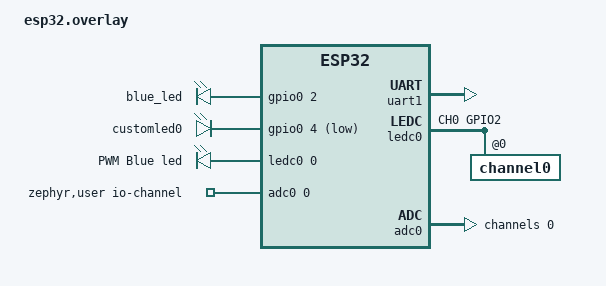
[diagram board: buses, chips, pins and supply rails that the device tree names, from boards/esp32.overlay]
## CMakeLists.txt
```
cmake_minimum_required(VERSION 3.20.0)

find_package(Zephyr REQUIRED HINTS $ENV{ZEPHYR_BASE})

project(Soln12_Zephyr)

target_include_directories(app PRIVATE inc/)

FILE(GLOB c_sources src/*.c)
FILE(GLOB cpp_sources src/*.cpp)

target_sources(app PRIVATE ${c_sources} ${cpp_sources})
```

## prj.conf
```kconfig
#
# C++ Language Support
#
CONFIG_CPP=y
CONFIG_STD_CPP17=y
CONFIG_REQUIRES_FULL_LIBCPP=y
CONFIG_GLIBCXX_LIBCPP=y

# GPIO CONFIG
CONFIG_GPIO=y

# for NRF, to avoid undefined reference for k_malloc()
CONFIG_HEAP_MEM_POOL_SIZE=256

#
# Logging
#
CONFIG_LOG=y
CONFIG_LOG_CORE_INIT_PRIORITY=0
#CONFIG_LOG_MODE_DEFERRED=y
CONFIG_LOG_MODE_DEFERRED=y
CONFIG_FPU=y
CONFIG_CBPRINTF_FP_SUPPORT=y
#required for float point
#
# PWM config
#
CONFIG_PWM=y
#
# ADC configs
#
CONFIG_ADC=y
CONFIG_ADC_ASYNC=y

#
# CPU mask affinity API
#
CONFIG_SCHED_CPU_MASK=y
#
# SMP Options
#
#SMP_CONFIG=y // this must be set to enable SMP, however, ESP32 doesn't boot :/
CONFIG_USE_SWITCH=y
# CONFIG_SMP_BOOT_DELAY is not set
CONFIG_MP_NUM_CPUS=2
CONFIG_MP_MAX_NUM_CPUS=2
# CONFIG_TRACE_SCHED_IPI is not set
# end of SMP Options
```

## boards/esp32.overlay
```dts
/*
 * Copyright (c) 2021 Andrei-Edward Popa
 * Copyright (c) 2022 Espressif Systems (Shanghai) Co., Ltd.
 * Copyright (c) 2022 Wolter HV <wolterhv@gmx.de>
 * Akshay Narahari Kulkarni <akshaynkulkarni@gmail.com>
 * 
 * SPDX-License-Identifier: Apache-2.0
 */
/ {
	aliases {
		userled0 = &customled0;
		usercom0 = &uart0;
		usercom1 = &uart1; // Tx: GPIO 27, RX: GPIO 26
		led0 = &blue_led;
		user-pwm-0 = &ledc0;
		user-pwm-led = &pwm_led4;
		//user-adc = &adc;
	};

	leds {
		compatible = "gpio-leds";
		blue_led: led_0 {
			gpios = <&gpio0 2 GPIO_ACTIVE_HIGH>;
		};
		customled0: user_led0 {
			gpios = <&gpio0 4 (GPIO_ACTIVE_LOW)>;
		};
	};

	//Inspired from sample pwm esp32 dts
	pwmleds {
		compatible = "pwm-leds";
		pwm_led4: gpio0_2 {
			label = "PWM Blue led";
			pwms = <&ledc0 0 PWM_MSEC(10U) PWM_POLARITY_NORMAL>;
		};
	};

	zephyr,user {
		io-channels =
			<&adc0 0>;
	};
};
//Override the pins; GPIO 9 and GPIO 10 are connected to flash. 
&pinctrl {
	uart1_default: uart1_default {
		group1 {
			pinmux = <UART1_TX_GPIO27>;
			output-high;
		};
		group2 {
			pinmux = <UART1_RX_GPIO26>;
			bias-pull-up;
		};
	};

	ledc0_default: ledc0_default {
		group1 {
			pinmux = <LEDC_CH0_GPIO2>;
			output-enable;
		};
	};
};

&uart1 {
	status = "okay";
};

&ledc0 {
	status = "okay";
	pinctrl-0 = <&ledc0_default>;
	pinctrl-names = "default";
	#address-cells = <1>;
	#size-cells = <0>;
	
	channel0@0 {
		reg = <0x0>;
		timer = <0>;
	};
};

&adc0 {
	status = "okay";
	#address-cells = <1>;
	#size-cells = <0>;

	channel@0 { //Pin 36
		reg = <0>;
		zephyr,gain = "ADC_GAIN_1_4";
		zephyr,reference = "ADC_REF_INTERNAL";
		zephyr,acquisition-time = <ADC_ACQ_TIME_DEFAULT>;
		zephyr,resolution = <12>;
	};
};
```

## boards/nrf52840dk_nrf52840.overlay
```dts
/*
 * SPDX-License-Identifier: Apache-2.0
 *
 * Copyright (c) 2022 Nordic Semiconductor ASA
 * Akshay Narahari Kulkarni <akshaynkulkarni@gmail.com>
 */
/ {
	aliases {
		userled0 = &customled0;
		usercom0 = &uart0; //usb com
		usercom1 = &uart1; // RX: P1.1 and TX: P1.2
		user-pwm-0 = &pwm0;
		user-pwm-led = &pwm_led0;
		user-adc = &adc;
	};

	leds {
		customled0: user_led0 {
			gpios = <&gpio0 04 GPIO_ACTIVE_LOW>;
		};
	};
	zephyr,user {
		io-channels = <&adc 0>;
	};
};

&uart1 {
	status = "okay";
};

// Based on the code from sample/ examples on the zephyr sdk
&adc {
	#address-cells = <1>;
	#size-cells = <0>;

	channel@0 {
		reg = <0>;
		zephyr,gain = "ADC_GAIN_1_6";
		zephyr,reference = "ADC_REF_INTERNAL";
		zephyr,acquisition-time = <ADC_ACQ_TIME_DEFAULT>;
		zephyr,input-positive = <NRF_SAADC_AIN1>; /* P0.03 */
		zephyr,resolution = <12>;
	};
};
```

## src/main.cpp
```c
#include <atomic>
#include <cstring>
#include <iostream>
#include <string>

#include <zephyr/device.h>
#include <zephyr/drivers/adc.h>
#include <zephyr/kernel.h>
#include <zephyr/logging/log.h>

#include "uartpolling.h"

#define LED_DELAY_DEF (500U)
#define UART_DELAY (100U)

LOG_MODULE_REGISTER(main, CONFIG_LOG_DEFAULT_LEVEL);

// devices
constexpr const device *uart_port = (DEVICE_DT_GET(DT_ALIAS(usercom0)));

UartPolling user_com_port{uart_port};

// Threads
#if CONFIG_BOARD_ESP
constexpr size_t kThreadStackSize = 4 * 1024;
#else
constexpr size_t kThreadStackSize = 2 * 1024;
#endif

#if CONFIG_MP_NUM_CPUS <= 1
static constexpr int kUartCore = CONFIG_MP_NUM_CPUS - 1;
static constexpr int kAdcCore = kUartCore;
#else
static constexpr int kUartCore = CONFIG_MP_NUM_CPUS - 1;
static constexpr int kAdcCore = kUartCore - 1;
#endif

static k_thread thread_0;
static k_thread thread_1;

static k_tid_t thread_0_tid;
static k_tid_t thread_1_tid;

K_THREAD_STACK_DEFINE(stack_thread_0, kThreadStackSize);
K_THREAD_STACK_DEFINE(stack_thread_1, kThreadStackSize);

constexpr int thread_0_prio = 10;
constexpr int thread_1_prio = 10;

// circular buffer

constexpr size_t buffer_len =
    4; // The ring buffer has 'n' buffers that can be configured. Min. 2
constexpr size_t buffer_mem_len = 10;

using buf = struct {
  uint16_t adc_val[buffer_mem_len];
};

volatile buf ring_buffer[buffer_len] = {0};
volatile uint8_t head = 0;
volatile uint8_t tail = 0;

std::atomic<float> avg_adc = {0.0f};

// syncs
k_sem signal_buff_full; // Signal a buffer is full
k_mutex avg_mutex;      // sync between the adc processor task and uart task

// Timer stuff

k_timer adc_read_timer;
// ADC:

static const struct adc_dt_spec adc_chan0 =
    ADC_DT_SPEC_GET_BY_IDX(DT_PATH(zephyr_user), 0);

void adc_read_timer_expiry_handler(k_timer *id) {
  // LOG_INF("ADC timer: Current cpu ID is %d", arch_curr_cpu()->id);
  if (((head + 1) % buffer_len) == tail) {
    // drop the elements, buffer full, sorry
    LOG_INF("ISR: Sorry! Buffer Full!! dropping adc_values....");
    return;
  }

  static size_t buffer_mem_count = 0;

  if (buffer_mem_count < buffer_mem_len) {
    size_t l_buffer_mem_count = buffer_mem_count;

    static uint16_t val_mv;
    static struct adc_sequence sequence = {
        .buffer = &val_mv,
        /* buffer size in bytes, not number of samples */
        .buffer_size = sizeof(val_mv),
    };
    (void)adc_sequence_init_dt(&adc_chan0, &sequence);
    int err = adc_read(adc_chan0.dev, &sequence);
    if (err < 0) {
      LOG_ERR("unable to read ADC channel 0(%d)\n", err);
      return;
    }

    ring_buffer[head].adc_val[buffer_mem_count] = val_mv;
    buffer_mem_count++;

#if DBG
    LOG_INF("ISR ring_buffer[%d].adc_val[%d] = %d", head, l_buffer_mem_count,
            ring_buffer[head].adc_val[l_buffer_mem_count]);
#endif
  }

  if (buffer_mem_count >= buffer_mem_len) {

    head = ((head + 1) % buffer_len); // let's fill the next buffer element
    buffer_mem_count = 0;             // reset the member buffer count

    // Signal a buffer is ready to be consumed
    k_sem_give(&signal_buff_full);
  }
}

static void adc_processing_thread(void *param1, void *param2, void *param3) {

  uint32_t adc_sum = 0;
  uint32_t l_tail = 0;

  k_timer_init(&adc_read_timer, adc_read_timer_expiry_handler, NULL);
  LOG_INF("Starting ADC Timer ...");

  k_timer_start(&adc_read_timer, K_MSEC(100), K_MSEC(100));

  // LOG_INF("ADC Proc: Current cpu ID is %d", arch_curr_cpu()->id);
  while (true) {
    if (!k_sem_take(&signal_buff_full, K_FOREVER)) {
      adc_sum = 0;

      for (uint8_t i = 0; i < buffer_mem_len; i++) {
        adc_sum += ring_buffer[tail].adc_val[i];

        // LOG_INF("adc: ring_buffer[%d].adc_val[%d] = %d", tail, i,
        // ring_buffer[tail].adc_val[i]);
      }
      l_tail = tail;
      tail = ((tail + 1) % buffer_len);

#if DBG
      for (uint8_t i = 0; i < buffer_mem_len; i++) {
        LOG_INF("adc: ring_buffer[%d].adc_val[%d] = %d", l_tail, i,
                ring_buffer[l_tail].adc_val[i]);
      }
      LOG_INF("=========", "==========");
#endif
      if (!k_mutex_lock(&avg_mutex, K_FOREVER)) {
        avg_adc.store((float)(((float)adc_sum / (buffer_mem_len))));
        k_mutex_unlock(&avg_mutex);
      }
    }
    // k_msleep(10 * UART_DELAY); // only to observe buffer full
  }
}

static void uart_read_thread(void *param1, void *param2, void *param3) {
  int ret = 0;
  size_t index = 0;
  size_t read_buff_size = 100;
  unsigned char read_buff[read_buff_size] = {'0'};
  // LOG_INF("UART: Current cpu ID is %d", arch_curr_cpu()->id);
  while (true) {
    do {
      while (!(ret = user_com_port.Read(read_buff[index]))) {
        user_com_port.Write(read_buff[index++]);

        if (index > read_buff_size - 1) {
          index = read_buff_size - 1;
          ret = 1;
          break;
        }
        k_msleep(3 * UART_DELAY);
      }
    } while (!ret);

    read_buff[index] = '\0';

    if (index) {

      if (!strcmp("avg\r", (const char *)read_buff) ||
          !strcmp("avg\n", (const char *)read_buff)) {
        float l_avg = 0.0f;
        if (!k_mutex_lock(&avg_mutex, K_FOREVER)) {
          l_avg = avg_adc.load();
          k_mutex_unlock(&avg_mutex);
        }
        int32_t val_mv = (int32_t)l_avg;
        int err = adc_raw_to_millivolts_dt(&adc_chan0, &val_mv);
        if (err) {
          LOG_ERR("Error in adc_raw_to_millivolts_dt: %d", err);
          continue;
        }
        LOG_INF("Average is %f, Voltage at Pin = %u mV", l_avg, val_mv);
      }
    }

    memset(read_buff, 0, index + 1); // clear the local buffer
    index = 0;
    k_msleep(UART_DELAY);
  }
}

extern "C" int main(void) {

  // LOG_INF("Current cpu ID is %d", arch_curr_cpu()->id);
  //  ADC ch 0 init
  if (!device_is_ready(adc_chan0.dev)) {
    LOG_ERR("ADC %s not ready\n", adc_chan0.dev->name);
    return 0;
  }

  int err = adc_channel_setup_dt(&adc_chan0);
  if (err < 0) {
    LOG_ERR("ADC channel 0 failed (%d)\n", err);
    return 0;
  }

  if (k_mutex_init(&avg_mutex)) {
    LOG_ERR("mutex avg_mutex init failed");
    return 0;
  }

  if (k_sem_init(&signal_buff_full, 0, buffer_len)) {
    LOG_ERR("semaphore signal_buff_full init failed");
    return 0;
  }

  if (!user_com_port.Init()) {
    LOG_ERR("uart config failed ...");
    return 0;
  }

  if (!user_com_port.IsReady()) {
    LOG_ERR("uart port not found...");
    return 0;
  }

  LOG_INF("Starting uart Thread ...");

  thread_0_tid = k_thread_create(
      &thread_0, stack_thread_0, K_THREAD_STACK_SIZEOF(stack_thread_0),
      uart_read_thread, NULL, NULL, NULL, thread_0_prio, 0, K_FOREVER);

  LOG_INF("Starting adc processing Thread ...");

  thread_1_tid = k_thread_create(
      &thread_1, stack_thread_1, K_THREAD_STACK_SIZEOF(stack_thread_1),
      adc_processing_thread, NULL, NULL, NULL, thread_1_prio, 0, K_FOREVER);

  // Assign threads to CPU incase of SMP

  if (k_thread_cpu_pin(thread_0_tid, kUartCore)) {
    LOG_ERR("Issue setting uart thread to core1");
  }
  if (k_thread_cpu_pin(thread_1_tid, kAdcCore)) {
    LOG_ERR("Issue setting adc thread to core1");
  }

  k_thread_start(thread_0_tid);
  k_thread_start(thread_1_tid);

  while (true) {
    // Do nothing
    k_msleep(2 * LED_DELAY_DEF);
  }

  return 0;
}
```
